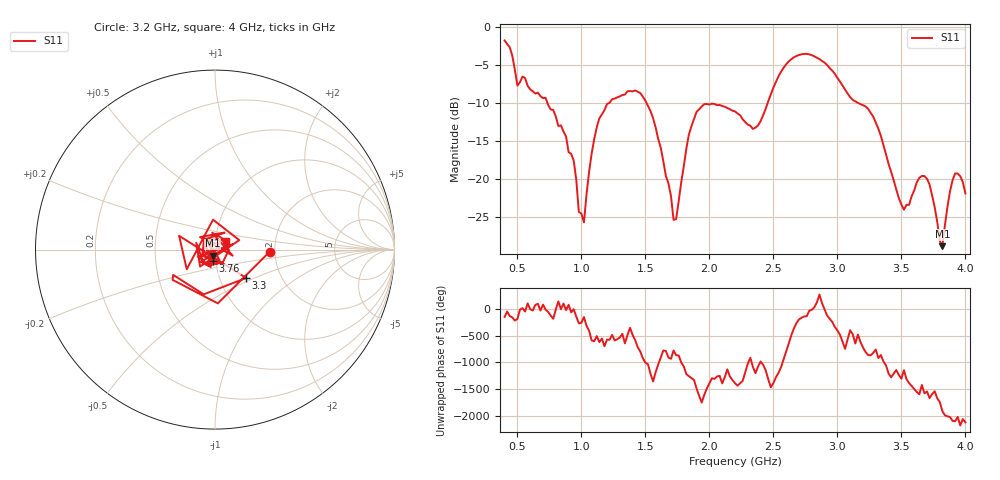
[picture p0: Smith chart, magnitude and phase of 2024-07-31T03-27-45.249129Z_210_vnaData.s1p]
!Created with skrf (http://scikit-rf.org).
# Hz S RI R 50.0
!freq ReS11 ImS11
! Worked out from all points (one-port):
!   181 points, 400 MHz to 4 GHz, reference 50 ohm
!   lowest |S11| = -28.8 dB at 3.82 GHz (marker M1), VSWR 1.07, Z = 48.6 - j3.3 ohm
!   |S11| at or under -10 dB: 735 MHz to 1.215 GHz (480.4 MHz wide, 49.3 % of centre); 1.509 GHz to 2.455 GHz (945.8 MHz wide, 47.7 % of centre); 3.164 GHz to end of sweep
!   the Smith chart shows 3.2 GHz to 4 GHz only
!   S11 on the Smith chart (normalised r, x): 3.2 GHz: 1.88, -0.04; 3.3 GHz: 1.33, -0.45; 3.76 GHz: 0.97, -0.13; 4 GHz: 1.13, +0.11
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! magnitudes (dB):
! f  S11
! 400 MHz  -1.8
! 500 MHz  -7.7
! 720 MHz  -9.3
! 860 MHz  -13.8
! 940 MHz  -17.6
! 980 MHz  -24.3
! 1.02 GHz  -25.7
! 1.12 GHz  -13.2
! 1.3 GHz  -9.1
! 1.5 GHz  -9.7
! 1.62 GHz  -15.9
! 1.72 GHz  -25.4
! 1.76 GHz  -22.9
! 1.9 GHz  -11.2
! 2.2 GHz  -11.1
! 2.38 GHz  -13.0
! 2.66 GHz  -4.0
! 2.9 GHz  -4.7
! 3.1 GHz  -9.2
! 3.2 GHz  -10.3
! 3.3 GHz  -12.6
! 3.5 GHz  -23.4
! 3.56 GHz  -23.4
! 3.68 GHz  -19.6
! 3.76 GHz  -23.7
! 3.82 GHz  -28.8
! 3.92 GHz  -19.3
! 4 GHz  -21.9
